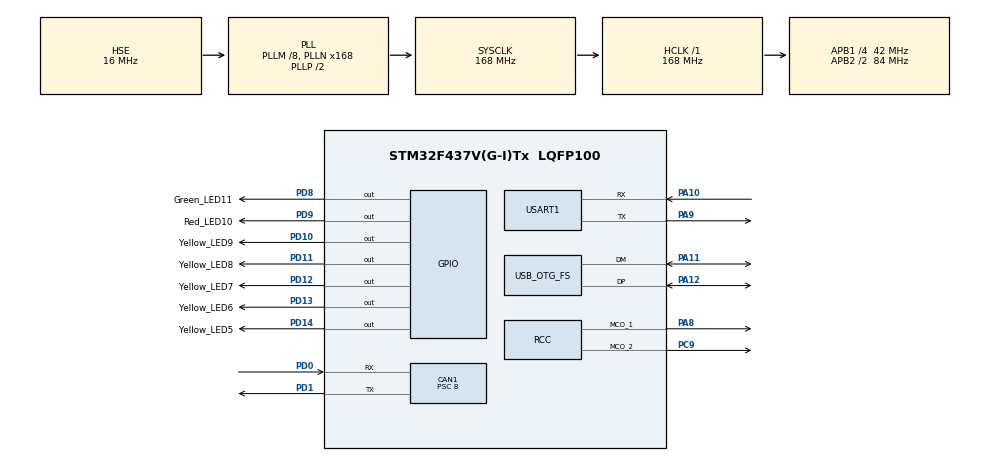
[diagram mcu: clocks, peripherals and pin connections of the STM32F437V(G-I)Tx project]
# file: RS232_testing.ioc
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CAN1.BS1=CAN_BS1_16TQ
CAN1.BS2=CAN_BS2_4TQ
CAN1.CalculateBaudRate=250000
CAN1.CalculateTimeBit=4000
CAN1.CalculateTimeQuantum=190.47619047619048
CAN1.Prescaler=8
Mcu.Family=STM32F4
Mcu.Name=STM32F437V(G-I)Tx
Mcu.Package=LQFP100
NVIC.CAN1_RX0_IRQn=true\:0\:0\:false\:false\:true\:true\:true\:true
NVIC.CAN1_RX1_IRQn=true\:0\:0\:false\:false\:true\:true\:true\:true
NVIC.CAN1_TX_IRQn=true\:0\:0\:false\:false\:true\:true\:true\:true
NVIC.PriorityGroup=NVIC_PRIORITYGROUP_4
PA10.Mode=Asynchronous
PA10.Signal=USART1_RX
PA11.Mode=Device_Only
PA11.Signal=USB_OTG_FS_DM
PA12.Mode=Device_Only
PA12.Signal=USB_OTG_FS_DP
PA13.Mode=Trace_Asynchronous_SW
PA13.Signal=SYS_JTMS-SWDIO
PA14.Mode=Trace_Asynchronous_SW
PA14.Signal=SYS_JTCK-SWCLK
PA8.Mode=Clock-out-1
PA8.Signal=RCC_MCO_1
PA9.Mode=Asynchronous
PA9.Signal=USART1_TX
PB3.Mode=Trace_Asynchronous_SW
PB3.Signal=SYS_JTDO-SWO
PC9.Mode=Clock-out-2
PC9.Signal=RCC_MCO_2
PD0.Mode=CAN_Activate
PD0.Signal=CAN1_RX
PD1.Mode=CAN_Activate
PD1.Signal=CAN1_TX
PD10.GPIO_Label=Yellow_LED9
PD10.Signal=GPIO_Output
PD11.GPIO_Label=Yellow_LED8
PD11.Signal=GPIO_Output
PD12.GPIO_Label=Yellow_LED7
PD12.Signal=GPIO_Output
PD13.GPIO_Label=Yellow_LED6
PD13.Signal=GPIO_Output
PD14.GPIO_Label=Yellow_LED5
PD14.Signal=GPIO_Output
PD8.GPIO_Label=Green_LED11
PD8.Signal=GPIO_Output
PD9.GPIO_Label=Red_LED10
PD9.Signal=GPIO_Output
PH0/OSC_IN.Mode=HSE-External-Oscillator
PH0/OSC_IN.Signal=RCC_OSC_IN
PH1/OSC_OUT.Mode=HSE-External-Oscillator
PH1/OSC_OUT.Signal=RCC_OSC_OUT
ProjectManager.HeapSize=0x200
ProjectManager.StackSize=0x400
ProjectManager.TargetToolchain=STM32CubeIDE
RCC.48MHZClocksFreq_Value=48000000
RCC.AHBFreq_Value=168000000
RCC.APB1CLKDivider=RCC_HCLK_DIV4
RCC.APB1Freq_Value=42000000
RCC.APB1TimFreq_Value=84000000
RCC.APB2CLKDivider=RCC_HCLK_DIV2
RCC.APB2Freq_Value=84000000
RCC.APB2TimFreq_Value=168000000
RCC.CortexFreq_Value=168000000
RCC.EnbaleCSS=true
RCC.HCLKFreq_Value=168000000
RCC.HSE_VALUE=16000000
RCC.HSI_VALUE=16000000
RCC.LSE_VALUE=32768
RCC.PLLM=8
RCC.PLLN=168
RCC.PLLQ=7
RCC.RCC_MCODiv2=RCC_MCODIV_2
RCC.SYSCLKFreq_VALUE=168000000
RCC.SYSCLKSource=RCC_SYSCLKSOURCE_PLLCLK
RCC.VCOOutputFreq_Value=336000000
USART1.VirtualMode=VM_ASYNC
USB_OTG_FS.VirtualMode=Device_Only
board=custom

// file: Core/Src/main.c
/* USER CODE BEGIN Header */
/**
  ******************************************************************************
  * @file           : main.c
  * @brief          : Main program body
  ******************************************************************************
  * @attention
  *
  * Copyright (c) 2026 STMicroelectronics.
  * All rights reserved.
  *
  * This software is licensed under terms that can be found in the LICENSE file
  * in the root directory of this software component.
  * If no LICENSE file comes with this software, it is provided AS-IS.
  *
  ******************************************************************************
  */
/* USER CODE END Header */
#include "main.h"

/* USER CODE BEGIN Includes */
#include <stdio.h>
#include <string.h>

/* USER CODE END Includes */

/* USER CODE BEGIN PTD */
typedef struct
{
  uint32_t can_id;
  const char *name;
  volatile uint32_t high_word;
  volatile uint32_t low_word;
  volatile uint8_t valid;
} SunRawEntry_t;

/* USER CODE END PTD */

/* USER CODE BEGIN PD */
#define SUN_RAW_SEND_PERIOD_MS       1000U
#define SUN_RAW_BLOCK_LEN            4096U
#define RS232_TX_TIMEOUT_MS          1000U
#define STATUS_LED_PULSE_MS          100U
#define HEARTBEAT_PERIOD_MS          1000U
#define HEARTBEAT_ON_TIME_MS         100U
#define SWV_PUTCHAR_TIMEOUT          10000U
#define SWV_ECHO_RS232_BLOCK         1U

/* The LEDs on this PCB are active-low. */
#define LED_ACTIVE_STATE             GPIO_PIN_RESET
#define LED_INACTIVE_STATE           GPIO_PIN_SET

/* USER CODE END PD */

CAN_HandleTypeDef hcan1;

UART_HandleTypeDef huart1;

PCD_HandleTypeDef hpcd_USB_OTG_FS;

/* USER CODE BEGIN PV */
/*
 * Fixed legacy Sunseeker row order copied from Telemetry_Reference.
 * A row remains as 0xHHHHHHHH until an 8-byte frame with its CAN ID arrives.
 */
static SunRawEntry_t sun_raw_table[] =
{
  { 0x402U, "MC1BUS", 0U, 0U, 0U },
  { 0x403U, "MC1VEL", 0U, 0U, 0U },
  { 0x40BU, "MC1TP1", 0U, 0U, 0U },
  { 0x40CU, "MC1TP2", 0U, 0U, 0U },
  { 0x404U, "MC1PHA", 0U, 0U, 0U },
  { 0x40EU, "MC1CUM", 0U, 0U, 0U },
  { 0x405U, "MC1VVC", 0U, 0U, 0U },
  { 0x406U, "MC1IVC", 0U, 0U, 0U },
  { 0x407U, "MC1BEM", 0U, 0U, 0U },

  { 0x422U, "MC2BUS", 0U, 0U, 0U },
  { 0x423U, "MC2VEL", 0U, 0U, 0U },
  { 0x42BU, "MC2TP1", 0U, 0U, 0U },
  { 0x42CU, "MC2TP2", 0U, 0U, 0U },
  { 0x424U, "MC2PHA", 0U, 0U, 0U },
  { 0x42EU, "MC2CUM", 0U, 0U, 0U },
  { 0x425U, "MC2VVC", 0U, 0U, 0U },
  { 0x426U, "MC2IVC", 0U, 0U, 0U },
  { 0x427U, "MC2BEM", 0U, 0U, 0U },

  { 0x501U, "DC_DRV",  0U, 0U, 0U },
  { 0x504U, "DC_SWC",  0U, 0U, 0U },

  { 0x581U, "BP_VMX",  0U, 0U, 0U },
  { 0x582U, "BP_VMN",  0U, 0U, 0U },
  { 0x583U, "BP_TMX",  0U, 0U, 0U },
  { 0x585U, "BP_ISH",  0U, 0U, 0U },
  { 0x586U, "BP_PVS",  0U, 0U, 0U },

  { 0x401U, "MC1LIM", 0U, 0U, 0U },
  { 0x421U, "MC2LIM", 0U, 0U, 0U }
};

#define SUN_RAW_TABLE_COUNT  (sizeof(sun_raw_table) / sizeof(sun_raw_table[0]))

static char sun_raw_block[SUN_RAW_BLOCK_LEN];
static volatile uint32_t can_rx_count;
static volatile uint32_t can_rx_pulse_tick;
static volatile uint32_t can_last_rx_id;
static volatile uint8_t can_last_rx_dlc;
static uint32_t rs232_tx_pulse_tick;
static uint32_t rs232_tx_attempt_count;
static uint32_t rs232_tx_success_count;
static uint8_t rs232_tx_led_active;
static uint8_t can_rx_led_active;

/* USER CODE END PV */

void SystemClock_Config(void);
static void MX_GPIO_Init(void);
static void MX_CAN1_Init(void);
static void MX_USB_OTG_FS_PCD_Init(void);
static void MX_USART1_UART_Init(void);
/* USER CODE BEGIN PFP */
static HAL_StatusTypeDef CAN1_ListenAllStart(void);
static void CAN1_DrainRxFifo(void);
static uint32_t CAN_MakeU32LE(const uint8_t *data);
static void SunRaw_UpdateFromCAN(uint32_t id, uint8_t dlc, const uint8_t *data);
static int SunRaw_BuildBlock(char *out, size_t out_len);
static void RS232_SendSunRawBlock(void);
static void StatusLeds_Task(void);
static void SetLed(GPIO_TypeDef *port, uint16_t pin, GPIO_PinState state);

/* USER CODE END PFP */

/* USER CODE BEGIN 0 */
/*
 * Retarget printf() to SWV ITM stimulus port 0.  This remains completely
 * separate from USART1, so diagnostics cannot alter the RS232 byte stream.
 */
int __io_putchar(int ch)
{
  uint32_t timeout;

  if ((CoreDebug->DEMCR & CoreDebug_DEMCR_TRCENA_Msk) == 0U)
  {
    return ch;
  }

  if (((ITM->TCR & ITM_TCR_ITMENA_Msk) == 0U) ||
      ((ITM->TER & 1UL) == 0U))
  {
    return ch;
  }

  timeout = SWV_PUTCHAR_TIMEOUT;
  while ((ITM->PORT[0U].u32 == 0UL) && (timeout > 0U))
  {
    timeout--;
  }

  if (timeout > 0U)
  {
    ITM->PORT[0U].u8 = (uint8_t)ch;
  }

  return ch;
}

static void SetLed(GPIO_TypeDef *port, uint16_t pin, GPIO_PinState state)
{
  HAL_GPIO_WritePin(port,
                    pin,
                    (state == GPIO_PIN_SET) ? LED_ACTIVE_STATE : LED_INACTIVE_STATE);
}

static HAL_StatusTypeDef CAN1_ListenAllStart(void)
{
  CAN_FilterTypeDef filter = {0};

  /* ID=0 and mask=0 accepts every standard and extended CAN identifier. */
  filter.FilterBank = 0U;
  filter.FilterMode = CAN_FILTERMODE_IDMASK;
  filter.FilterScale = CAN_FILTERSCALE_32BIT;
  filter.FilterIdHigh = 0U;
  filter.FilterIdLow = 0U;
  filter.FilterMaskIdHigh = 0U;
  filter.FilterMaskIdLow = 0U;
  filter.FilterFIFOAssignment = CAN_RX_FIFO0;
  filter.FilterActivation = ENABLE;
  filter.SlaveStartFilterBank = 14U;

  if (HAL_CAN_ConfigFilter(&hcan1, &filter) != HAL_OK)
  {
    return HAL_ERROR;
  }

  if (HAL_CAN_Start(&hcan1) != HAL_OK)
  {
    return HAL_ERROR;
  }

  return HAL_CAN_ActivateNotification(&hcan1, CAN_IT_RX_FIFO0_MSG_PENDING);
}

static uint32_t CAN_MakeU32LE(const uint8_t *data)
{
  return ((uint32_t)data[0]) |
         ((uint32_t)data[1] << 8) |
         ((uint32_t)data[2] << 16) |
         ((uint32_t)data[3] << 24);
}

static void SunRaw_UpdateFromCAN(uint32_t id, uint8_t dlc, const uint8_t *data)
{
  uint32_t i;

  if ((data == NULL) || (dlc < 8U))
  {
    return;
  }

  for (i = 0U; i < SUN_RAW_TABLE_COUNT; i++)
  {
    if (sun_raw_table[i].can_id == id)
    {
      /* Bytes 0..3 are the low word; bytes 4..7 are the high word. */
      sun_raw_table[i].low_word = CAN_MakeU32LE(&data[0]);
      sun_raw_table[i].high_word = CAN_MakeU32LE(&data[4]);
      sun_raw_table[i].valid = 1U;
      return;
    }
  }
}

static void CAN1_DrainRxFifo(void)
{
  CAN_RxHeaderTypeDef rx_header;
  uint8_t rx_data[8];

  while (HAL_CAN_GetRxFifoFillLevel(&hcan1, CAN_RX_FIFO0) > 0U)
  {
    if (HAL_CAN_GetRxMessage(&hcan1, CAN_RX_FIFO0, &rx_header, rx_data) != HAL_OK)
    {
      break;
    }

    can_rx_count++;
    can_rx_pulse_tick = HAL_GetTick();
    can_rx_led_active = 1U;

    if (rx_header.IDE == CAN_ID_STD)
    {
      can_last_rx_id = rx_header.StdId;
      can_last_rx_dlc = (uint8_t)rx_header.DLC;
      SunRaw_UpdateFromCAN(rx_header.StdId, (uint8_t)rx_header.DLC, rx_data);
    }
    else
    {
      can_last_rx_id = rx_header.ExtId;
      can_last_rx_dlc = (uint8_t)rx_header.DLC;
    }
  }
}

void HAL_CAN_RxFifo0MsgPendingCallback(CAN_HandleTypeDef *hcan)
{
  if (hcan->Instance == CAN1)
  {
    CAN1_DrainRxFifo();
  }
}

static int SunRaw_BuildBlock(char *out, size_t out_len)
{
  size_t pos = 0U;
  uint32_t i;
  int written;

  if ((out == NULL) || (out_len == 0U))
  {
    return -1;
  }

  written = snprintf(out, out_len, "raw_data\r\nABCDEF\r\n");
  if ((written < 0) || ((size_t)written >= out_len))
  {
    return -1;
  }
  pos = (size_t)written;

  for (i = 0U; i < SUN_RAW_TABLE_COUNT; i++)
  {
    uint32_t high_word;
    uint32_t low_word;
    uint8_t valid;
    uint32_t primask = __get_PRIMASK();

    __disable_irq();
    high_word = sun_raw_table[i].high_word;
    low_word = sun_raw_table[i].low_word;
    valid = sun_raw_table[i].valid;
    __set_PRIMASK(primask);

    if (valid != 0U)
    {
      written = snprintf(&out[pos],
                         out_len - pos,
                         "%s,0x%08lX,0x%08lX\r\n",
                         sun_raw_table[i].name,
                         (unsigned long)high_word,
                         (unsigned long)low_word);
    }
    else
    {
      written = snprintf(&out[pos],
                         out_len - pos,
                         "%s,0xHHHHHHHH,0xHHHHHHHH\r\n",
                         sun_raw_table[i].name);
    }

    if ((written < 0) || ((size_t)written >= (out_len - pos)))
    {
      return -1;
    }
    pos += (size_t)written;
  }

  /*
   * This board does not configure the reference project's BME, GPS, IMU, or
   * RTC peripherals.  Keep the same RS232 schema and use its unavailable-data
   * fallbacks so the Sunseeker display parser sees an identical block shape.
   */
  written = snprintf(&out[pos],
                     out_len - pos,
                     "BME,T=0.00,P=0.00,H=0.00\r\n"
                     "NAV,IMU_MPH=0.00,GPS_MPH=0.00,GPS_VALID=0,VEHICLE_MPH=0.00,SOURCE=NONE,LAT=0.000000,LON=0.000000,FIX=0,AGE_MS=0\r\n"
                     "TL_TIM,RTC_READ_FAIL\r\n"
                     "VWXYZ\r\n");
  if ((written < 0) || ((size_t)written >= (out_len - pos)))
  {
    return -1;
  }

  pos += (size_t)written;
  return (int)pos;
}

static void RS232_SendSunRawBlock(void)
{
  int length = SunRaw_BuildBlock(sun_raw_block, sizeof(sun_raw_block));
  HAL_StatusTypeDef status;
  uint32_t start_tick;

  rs232_tx_attempt_count++;

  if (length <= 0)
  {
    SetLed(Red_LED10_GPIO_Port, Red_LED10_Pin, GPIO_PIN_SET);
    printf("[RS232] TX #%lu block build failed\r\n",
           (unsigned long)rs232_tx_attempt_count);
    return;
  }

  start_tick = HAL_GetTick();
  printf("[RS232] TX #%lu start t=%lu bytes=%d state=%lu err=0x%08lX SR=0x%08lX\r\n",
         (unsigned long)rs232_tx_attempt_count,
         (unsigned long)start_tick,
         length,
         (unsigned long)HAL_UART_GetState(&huart1),
         (unsigned long)HAL_UART_GetError(&huart1),
         (unsigned long)USART1->SR);

#if SWV_ECHO_RS232_BLOCK
  printf("[RS232] Bytes sent to USART1 will be:\r\n%s", sun_raw_block);
#endif

  status = HAL_UART_Transmit(&huart1,
                             (uint8_t *)sun_raw_block,
                             (uint16_t)length,
                             RS232_TX_TIMEOUT_MS);

  if (status == HAL_OK)
  {
    rs232_tx_success_count++;
    rs232_tx_pulse_tick = HAL_GetTick();
    rs232_tx_led_active = 1U;
    printf("[RS232] TX #%lu HAL_OK done=%lu elapsed=%lu ms success=%lu SR=0x%08lX\r\n",
           (unsigned long)rs232_tx_attempt_count,
           (unsigned long)HAL_GetTick(),
           (unsigned long)(HAL_GetTick() - start_tick),
           (unsigned long)rs232_tx_success_count,
           (unsigned long)USART1->SR);
  }
  else
  {
    SetLed(Red_LED10_GPIO_Port, Red_LED10_Pin, GPIO_PIN_SET);
    printf("[RS232] TX #%lu FAILED status=%d state=%lu err=0x%08lX SR=0x%08lX\r\n",
           (unsigned long)rs232_tx_attempt_count,
           (int)status,
           (unsigned long)HAL_UART_GetState(&huart1),
           (unsigned long)HAL_UART_GetError(&huart1),
           (unsigned long)USART1->SR);
  }
}

static void StatusLeds_Task(void)
{
  uint32_t now = HAL_GetTick();
  uint32_t heartbeat_phase = now % HEARTBEAT_PERIOD_MS;

  SetLed(Green_LED11_GPIO_Port,
         Green_LED11_Pin,
         (heartbeat_phase < HEARTBEAT_ON_TIME_MS) ? GPIO_PIN_SET : GPIO_PIN_RESET);

  if ((rs232_tx_led_active != 0U) &&
      ((now - rs232_tx_pulse_tick) >= STATUS_LED_PULSE_MS))
  {
    rs232_tx_led_active = 0U;
  }
  SetLed(Yellow_LED7_GPIO_Port,
         Yellow_LED7_Pin,
         (rs232_tx_led_active != 0U) ? GPIO_PIN_SET : GPIO_PIN_RESET);

  if ((can_rx_led_active != 0U) &&
      ((now - can_rx_pulse_tick) >= STATUS_LED_PULSE_MS))
  {
    can_rx_led_active = 0U;
  }
  SetLed(Yellow_LED6_GPIO_Port,
         Yellow_LED6_Pin,
         (can_rx_led_active != 0U) ? GPIO_PIN_SET : GPIO_PIN_RESET);
}

/* USER CODE END 0 */

int main(void)
{

  /* MCU Configuration--------------------------------------------------------*/

  /* Reset of all peripherals, Initializes the Flash interface and the Systick. */
  HAL_Init();

  /* Configure the system clock */
  SystemClock_Config();

  /* Initialize all configured peripherals */
  MX_GPIO_Init();
  MX_CAN1_Init();
  MX_USB_OTG_FS_PCD_Init();
  MX_USART1_UART_Init();
  /* USER CODE BEGIN 2 */
  setvbuf(stdout, NULL, _IONBF, 0);

  /* CubeMX initializes these active-low LEDs low, so explicitly turn them off. */
  HAL_GPIO_WritePin(GPIOD,
                    Green_LED11_Pin | Red_LED10_Pin | Yellow_LED9_Pin |
                    Yellow_LED8_Pin | Yellow_LED7_Pin | Yellow_LED6_Pin |
                    Yellow_LED5_Pin,
                    LED_INACTIVE_STATE);

  printf("\r\n[BOOT] RS232/CAN telemetry firmware started t=%lu ms\r\n",
         (unsigned long)HAL_GetTick());
  printf("[BOOT] SYSCLK=%lu HCLK=%lu PCLK1=%lu PCLK2=%lu Hz\r\n",
         (unsigned long)HAL_RCC_GetSysClockFreq(),
         (unsigned long)HAL_RCC_GetHCLKFreq(),
         (unsigned long)HAL_RCC_GetPCLK1Freq(),
         (unsigned long)HAL_RCC_GetPCLK2Freq());
  printf("[UART] USART1 TX=PA9 RX=PA10 baud=%lu 8-N-1 state=%lu BRR=0x%04lX CR1=0x%04lX\r\n",
         (unsigned long)huart1.Init.BaudRate,
         (unsigned long)HAL_UART_GetState(&huart1),
         (unsigned long)USART1->BRR,
         (unsigned long)USART1->CR1);
  printf("[RS232] Activity LED=Yellow_LED7/PD12 (active-low)\r\n");
  printf("[CAN] CAN1 RX=PD0 TX=PD1 bitrate=250000 bit/s, starting listen-all\r\n");

  if (CAN1_ListenAllStart() != HAL_OK)
  {
    SetLed(Red_LED10_GPIO_Port, Red_LED10_Pin, GPIO_PIN_SET);
    printf("[CAN] listen-all START FAILED state=%lu err=0x%08lX ESR=0x%08lX\r\n",
           (unsigned long)HAL_CAN_GetState(&hcan1),
           (unsigned long)HAL_CAN_GetError(&hcan1),
           (unsigned long)CAN1->ESR);
  }
  else
  {
    printf("[CAN] listen-all ready state=%lu BTR=0x%08lX\r\n",
           (unsigned long)HAL_CAN_GetState(&hcan1),
           (unsigned long)CAN1->BTR);
  }

  /* USER CODE END 2 */

  /* Infinite loop */
  while (1)
  {

    /* USER CODE BEGIN 3 */
    static uint32_t last_rs232_send_tick;
    static uint32_t last_swv_status_tick;
    uint32_t now = HAL_GetTick();

    if ((now - last_rs232_send_tick) >= SUN_RAW_SEND_PERIOD_MS)
    {
      last_rs232_send_tick = now;
      RS232_SendSunRawBlock();
    }

    if ((now - last_swv_status_tick) >= 5000U)
    {
      uint32_t primask = __get_PRIMASK();
      uint32_t rx_count;
      uint32_t last_id;
      uint8_t last_dlc;

      last_swv_status_tick = now;
      __disable_irq();
      rx_count = can_rx_count;
      last_id = can_last_rx_id;
      last_dlc = can_last_rx_dlc;
      __set_PRIMASK(primask);

      printf("[STATUS] t=%lu uart_tx=%lu/%lu uart_state=%lu uart_err=0x%08lX can_rx=%lu last_id=0x%lX dlc=%u can_state=%lu can_err=0x%08lX\r\n",
             (unsigned long)now,
             (unsigned long)rs232_tx_success_count,
             (unsigned long)rs232_tx_attempt_count,
             (unsigned long)HAL_UART_GetState(&huart1),
             (unsigned long)HAL_UART_GetError(&huart1),
             (unsigned long)rx_count,
             (unsigned long)last_id,
             last_dlc,
             (unsigned long)HAL_CAN_GetState(&hcan1),
             (unsigned long)HAL_CAN_GetError(&hcan1));
    }

    StatusLeds_Task();
  }
  /* USER CODE END 3 */
}

void SystemClock_Config(void)
{
  RCC_OscInitTypeDef RCC_OscInitStruct = {0};
  RCC_ClkInitTypeDef RCC_ClkInitStruct = {0};

  /** Configure the main internal regulator output voltage
  */
  __HAL_RCC_PWR_CLK_ENABLE();
  __HAL_PWR_VOLTAGESCALING_CONFIG(PWR_REGULATOR_VOLTAGE_SCALE1);

  /** Initializes the RCC Oscillators according to the specified parameters
  * in the RCC_OscInitTypeDef structure.
  */
  RCC_OscInitStruct.OscillatorType = RCC_OSCILLATORTYPE_HSI|RCC_OSCILLATORTYPE_HSE;
  RCC_OscInitStruct.HSEState = RCC_HSE_ON;
  RCC_OscInitStruct.HSIState = RCC_HSI_ON;
  RCC_OscInitStruct.HSICalibrationValue = RCC_HSICALIBRATION_DEFAULT;
  RCC_OscInitStruct.PLL.PLLState = RCC_PLL_ON;
  RCC_OscInitStruct.PLL.PLLSource = RCC_PLLSOURCE_HSE;
  RCC_OscInitStruct.PLL.PLLM = 8;
  RCC_OscInitStruct.PLL.PLLN = 168;
  RCC_OscInitStruct.PLL.PLLP = RCC_PLLP_DIV2;
  RCC_OscInitStruct.PLL.PLLQ = 7;
  if (HAL_RCC_OscConfig(&RCC_OscInitStruct) != HAL_OK)
  {
    Error_Handler();
  }

  /** Initializes the CPU, AHB and APB buses clocks
  */
  RCC_ClkInitStruct.ClockType = RCC_CLOCKTYPE_HCLK|RCC_CLOCKTYPE_SYSCLK
                              |RCC_CLOCKTYPE_PCLK1|RCC_CLOCKTYPE_PCLK2;
  RCC_ClkInitStruct.SYSCLKSource = RCC_SYSCLKSOURCE_PLLCLK;
  RCC_ClkInitStruct.AHBCLKDivider = RCC_SYSCLK_DIV1;
  RCC_ClkInitStruct.APB1CLKDivider = RCC_HCLK_DIV4;
  RCC_ClkInitStruct.APB2CLKDivider = RCC_HCLK_DIV2;

  if (HAL_RCC_ClockConfig(&RCC_ClkInitStruct, FLASH_LATENCY_5) != HAL_OK)
  {
    Error_Handler();
  }
  HAL_RCC_MCOConfig(RCC_MCO1, RCC_MCO1SOURCE_HSI, RCC_MCODIV_1);
  HAL_RCC_MCOConfig(RCC_MCO2, RCC_MCO2SOURCE_SYSCLK, RCC_MCODIV_2);

  /** Enables the Clock Security System
  */
  HAL_RCC_EnableCSS();
}

static void MX_CAN1_Init(void)
{

  hcan1.Instance = CAN1;
  hcan1.Init.Prescaler = 8;
  hcan1.Init.Mode = CAN_MODE_NORMAL;
  hcan1.Init.SyncJumpWidth = CAN_SJW_1TQ;
  hcan1.Init.TimeSeg1 = CAN_BS1_16TQ;
  hcan1.Init.TimeSeg2 = CAN_BS2_4TQ;
  hcan1.Init.TimeTriggeredMode = DISABLE;
  hcan1.Init.AutoBusOff = DISABLE;
  hcan1.Init.AutoWakeUp = DISABLE;
  hcan1.Init.AutoRetransmission = DISABLE;
  hcan1.Init.ReceiveFifoLocked = DISABLE;
  hcan1.Init.TransmitFifoPriority = DISABLE;
  if (HAL_CAN_Init(&hcan1) != HAL_OK)
  {
    Error_Handler();
  }

}

static void MX_USART1_UART_Init(void)
{

  huart1.Instance = USART1;
  huart1.Init.BaudRate = 115200;
  huart1.Init.WordLength = UART_WORDLENGTH_8B;
  huart1.Init.StopBits = UART_STOPBITS_1;
  huart1.Init.Parity = UART_PARITY_NONE;
  huart1.Init.Mode = UART_MODE_TX_RX;
  huart1.Init.HwFlowCtl = UART_HWCONTROL_NONE;
  huart1.Init.OverSampling = UART_OVERSAMPLING_16;
  if (HAL_UART_Init(&huart1) != HAL_OK)
  {
    Error_Handler();
  }

}

static void MX_USB_OTG_FS_PCD_Init(void)
{

  hpcd_USB_OTG_FS.Instance = USB_OTG_FS;
  hpcd_USB_OTG_FS.Init.dev_endpoints = 4;
  hpcd_USB_OTG_FS.Init.speed = PCD_SPEED_FULL;
  hpcd_USB_OTG_FS.Init.dma_enable = DISABLE;
  hpcd_USB_OTG_FS.Init.phy_itface = PCD_PHY_EMBEDDED;
  hpcd_USB_OTG_FS.Init.Sof_enable = DISABLE;
  hpcd_USB_OTG_FS.Init.low_power_enable = DISABLE;
  hpcd_USB_OTG_FS.Init.lpm_enable = DISABLE;
  hpcd_USB_OTG_FS.Init.vbus_sensing_enable = DISABLE;
  hpcd_USB_OTG_FS.Init.use_dedicated_ep1 = DISABLE;
  if (HAL_PCD_Init(&hpcd_USB_OTG_FS) != HAL_OK)
  {
    Error_Handler();
  }

}

static void MX_GPIO_Init(void)
{
  GPIO_InitTypeDef GPIO_InitStruct = {0};

  /* GPIO Ports Clock Enable */
  __HAL_RCC_GPIOH_CLK_ENABLE();
  __HAL_RCC_GPIOD_CLK_ENABLE();
  __HAL_RCC_GPIOC_CLK_ENABLE();
  __HAL_RCC_GPIOA_CLK_ENABLE();

  /*Configure GPIO pin Output Level */
  HAL_GPIO_WritePin(GPIOD, Green_LED11_Pin|Red_LED10_Pin|Yellow_LED9_Pin|Yellow_LED8_Pin
                          |Yellow_LED7_Pin|Yellow_LED6_Pin|Yellow_LED5_Pin, GPIO_PIN_RESET);

  /*Configure GPIO pins : Green_LED11_Pin Red_LED10_Pin Yellow_LED9_Pin Yellow_LED8_Pin
                           Yellow_LED7_Pin Yellow_LED6_Pin Yellow_LED5_Pin */
  GPIO_InitStruct.Pin = Green_LED11_Pin|Red_LED10_Pin|Yellow_LED9_Pin|Yellow_LED8_Pin
                          |Yellow_LED7_Pin|Yellow_LED6_Pin|Yellow_LED5_Pin;
  GPIO_InitStruct.Mode = GPIO_MODE_OUTPUT_PP;
  GPIO_InitStruct.Pull = GPIO_NOPULL;
  GPIO_InitStruct.Speed = GPIO_SPEED_FREQ_LOW;
  HAL_GPIO_Init(GPIOD, &GPIO_InitStruct);

  /*Configure GPIO pin : PC9 */
  GPIO_InitStruct.Pin = GPIO_PIN_9;
  GPIO_InitStruct.Mode = GPIO_MODE_AF_PP;
  GPIO_InitStruct.Pull = GPIO_NOPULL;
  GPIO_InitStruct.Speed = GPIO_SPEED_FREQ_LOW;
  GPIO_InitStruct.Alternate = GPIO_AF0_MCO;
  HAL_GPIO_Init(GPIOC, &GPIO_InitStruct);

  /*Configure GPIO pin : PA8 */
  GPIO_InitStruct.Pin = GPIO_PIN_8;
  GPIO_InitStruct.Mode = GPIO_MODE_AF_PP;
  GPIO_InitStruct.Pull = GPIO_NOPULL;
  GPIO_InitStruct.Speed = GPIO_SPEED_FREQ_LOW;
  GPIO_InitStruct.Alternate = GPIO_AF0_MCO;
  HAL_GPIO_Init(GPIOA, &GPIO_InitStruct);

}

void Error_Handler(void)
{
  __disable_irq();
  while (1)
  {
  }
}
